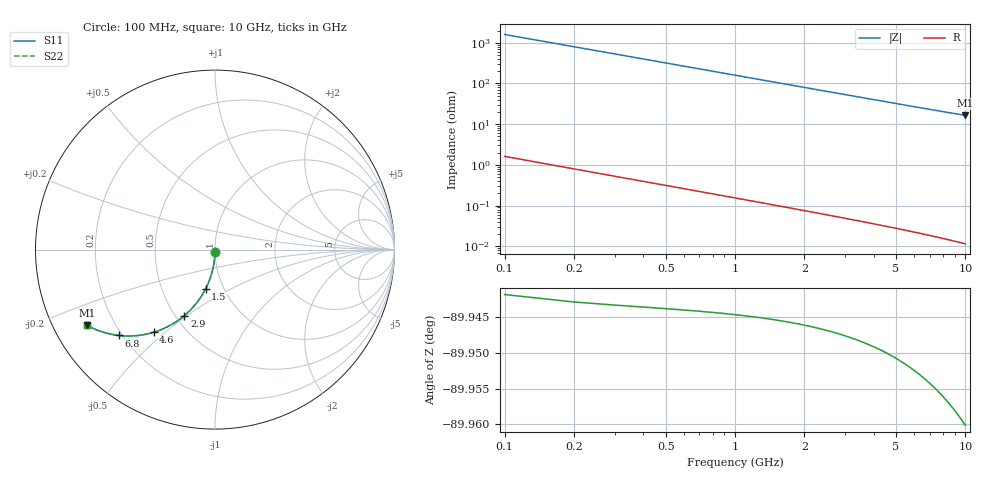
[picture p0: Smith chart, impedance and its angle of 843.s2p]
# Hz S RI R 50.00
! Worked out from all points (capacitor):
!   100 points, 100 MHz to 10 GHz, reference 50 ohm
!   read as one part in shunt: C = 995 fF near 100 MHz
!   lowest |Z| = 16.5 ohm at 10 GHz (marker M1)
!   S11 on the Smith chart (normalised r, x): 100 MHz: 1.00, -0.03; 1.5 GHz: 0.82, -0.38; 2.9 GHz: 0.55, -0.49; 4.6 GHz: 0.33, -0.46; 6.8 GHz: 0.19, -0.37; 10 GHz: 0.10, -0.27
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1e8  -5.3e-05 -0.0153  0.9995 -0.0159  0.9995 -0.0159  -5.3e-05 -0.0153
2e8  -0.000799 -0.0307  0.9988 -0.0318  0.9988 -0.0318  -0.000799 -0.0307
3e8  -0.00203 -0.0459  0.9975 -0.0476  0.9975 -0.0476  -0.00203 -0.0459
4e8  -0.00374 -0.0611  0.9958 -0.0634  0.9958 -0.0634  -0.00374 -0.0611
5e8  -0.00593 -0.0762  0.9936 -0.0791  0.9936 -0.0791  -0.00593 -0.0762
6e8  -0.0086 -0.0912  0.991 -0.0947  0.991 -0.0947  -0.0086 -0.0912
7e8  -0.0117 -0.1061  0.9878 -0.1101  0.9878 -0.1101  -0.0117 -0.1061
9e8  -0.0193 -0.1353  0.9802 -0.1405  0.9802 -0.1405  -0.0193 -0.1353
1.2e9  -0.0339 -0.1777  0.9656 -0.1846  0.9656 -0.1846  -0.0339 -0.1777
1.5e9  -0.0521 -0.2179  0.9474 -0.2265  0.9474 -0.2265  -0.0521 -0.2179
1.8e9  -0.0734 -0.2555  0.9261 -0.2659  0.9261 -0.2659  -0.0734 -0.2555
2.3e9  -0.1146 -0.3117  0.8849 -0.325  0.8849 -0.325  -0.1146 -0.3117
2.9e9  -0.1708 -0.3677  0.8286 -0.3845  0.8286 -0.3845  -0.1708 -0.3677
3.4e9  -0.2208 -0.4047  0.7785 -0.4243  0.7785 -0.4243  -0.2208 -0.4047
4e9  -0.282 -0.4381  0.7173 -0.4612  0.7173 -0.4612  -0.282 -0.4381
4.6e9  -0.3421 -0.4607  0.6571 -0.4873  0.6571 -0.4873  -0.3421 -0.4607
5.1e9  -0.3903 -0.4726  0.6088 -0.5022  0.6088 -0.5022  -0.3903 -0.4726
5.9e9  -0.4619 -0.4809  0.537 -0.5152  0.537 -0.5152  -0.4619 -0.4809
6.7e9  -0.5261 -0.4793  0.4727 -0.5182  0.4727 -0.5182  -0.5261 -0.4793
6.8e9  -0.5335 -0.4785  0.4652 -0.5181  0.4652 -0.5181  -0.5335 -0.4785
8.4e9  -0.6372 -0.4555  0.3611 -0.5046  0.3611 -0.5046  -0.6372 -0.4555
1e10  -0.7148 -0.421  0.2829 -0.4798  0.2829 -0.4798  -0.7148 -0.421
